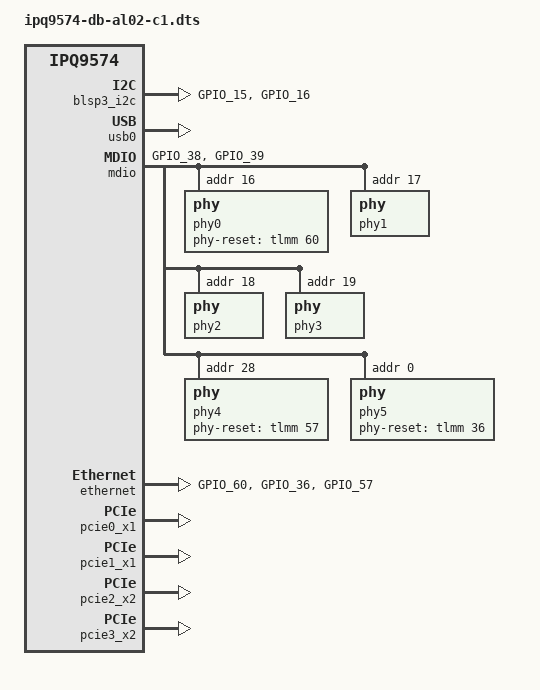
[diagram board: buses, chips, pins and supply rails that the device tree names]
// SPDX-License-Identifier: GPL-2.0-only
/*
* Copyright (c) 2023, Qualcomm Innovation Center, Inc. All rights reserved.
*/

/dts-v1/;

#include "ipq9574-default.dts"

/ {
	config_name = "config@db-al02-c1", "config-db-al02-c1";

	soc: soc {
		tlmm: pinctrl@1000000 {

			mdio_pinmux: mdio {
				mdc {
					pins = "GPIO_38";
					function = "mdc";
					drive-strength = <DRIVE_STRENGTH_8MA>;
					bias-disable;
				};

				mdio {
					pins = "GPIO_39";
					function = "mdio";
					drive-strength = <DRIVE_STRENGTH_8MA>;
					bias-pull-up;
				};
			};

			phy_rst_pinmux: phy_rst {
				qti_8085_rst {
					pins = "GPIO_60";
					drive-strength = <DRIVE_STRENGTH_8MA>;
					bias-pull-up;
				};

				qti_aquantia_rst {
					pins = "GPIO_36";
					drive-strength = <DRIVE_STRENGTH_8MA>;
					bias-pull-up;
				};

				qti_8081_rst {
					pins = "GPIO_57";
					drive-strength = <DRIVE_STRENGTH_8MA>;
					bias-pull-up;
				};
			};

			blsp3_i2c_pinmux: blsp3_i2c_pins {
				blsp3_scl {
					pins = "GPIO_15";
					function = "blsp3_i2c_scl";
					drive-strength = <DRIVE_STRENGTH_8MA>;
					bias-pull-up;
				};

				blsp3_sda {
					pins = "GPIO_16";
					function = "blsp3_i2c_sda";
					drive-strength = <DRIVE_STRENGTH_8MA>;
					bias-pull-up;
				};
			};
		};

		blsp3_i2c: i2c@78B8000 {
			pinctrl-names = "default";
			pinctrl-0 = <&blsp3_i2c_pinmux>;
			status = "okay";
		};

		qmp_ssphy_0: ssphy@7D000 {
			status = "okay";
		};

		qusb2_phy_0: qusb2@7B000 {
			status = "okay";
		};

		usb0: usb@8af8800 {
			status = "okay";

			dwc3@8a00000 {
				phys = <&qusb2_phy_0>, <&qmp_ssphy_0>;
				phy-names = "usb2-phy", "usb3-phy";
				maximum-speed = "super-speed";
			};
		};

		mdio: mdio@90000 {
			pinctrl-names = "default";
			pinctrl-0 = <&mdio_pinmux>;
			status = "okay";

			phy0: phy@16 {
				phy-reset-gpio = <&tlmm 60 0>;
				reg = <16>;
				phy_id = <QCA8075_PHY_TYPE>;
				id = <1>;
				uniphy_id = <0>;
				uniphy_type = <0>;
			};

			phy1: phy@17 {
				reg = <17>;
				phy_id = <QCA8075_PHY_TYPE>;
				id = <2>;
				uniphy_id = <0>;
				uniphy_type = <0>;
			};

			phy2: phy@18 {
				reg = <18>;
				phy_id = <QCA8075_PHY_TYPE>;
				id = <3>;
				uniphy_id = <0>;
				uniphy_type = <0>;
			};

			phy3: phy@19 {
				reg = <19>;
				phy_id = <QCA8075_PHY_TYPE>;
				id = <4>;
				uniphy_id = <0>;
				uniphy_type = <0>;
			};

			phy4: phy@28 {
				phy-reset-gpio = <&tlmm 57 0>;
				reg = <28>;
				phy_id = <QCA8081_PHY_TYPE>;
				id = <5>;
				uniphy_id = <1>;
				uniphy_type = <1>;
				xgmac;
			};

			phy5: phy@0 {
				phy-reset-gpio = <&tlmm 36 0>;
				reg = <0>;
				phy_id = <AQ_PHY_TYPE>;
				phy-mode = "usxgmii";
				id = <6>;
				uniphy_id = <2>;
				uniphy_type = <0>;
				xgmac;
			};
		};

		ethernet: nss-switch {
			pinctrl-names = "default";
			pinctrl-0 = <&phy_rst_pinmux>;
			phy-handle0 = <&phy0>;
			phy-handle1 = <&phy1>;
			phy-handle2 = <&phy2>;
			phy-handle3 = <&phy3>;
			phy-handle4 = <&phy4>;
			phy-handle5 = <&phy5>;
			status = "okay";
		};

		pcie0_x1: pci@28000000 {
			status = "okay";
			perst_gpio = <&tlmm 23 0>;
		};

		pcie1_x1: pci@10000000 {
			status = "okay";
			perst_gpio = <&tlmm 26 0>;
		};

		pcie2_x2: pci@20000000 {
			status = "okay";
			perst_gpio = <&tlmm 29 0>;
		};

		pcie3_x2: pci@18000000 {
			status = "okay";
			perst_gpio = <&tlmm 32 0>;
		};
	};
};
